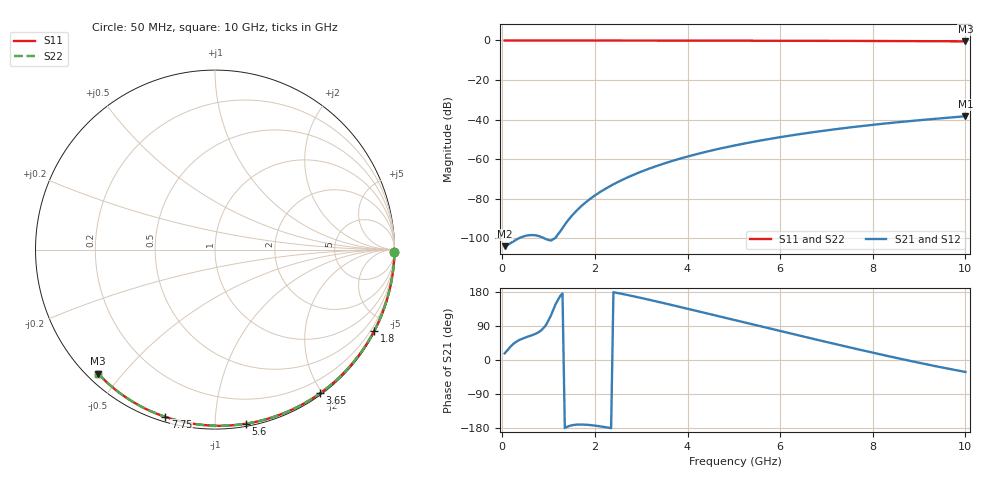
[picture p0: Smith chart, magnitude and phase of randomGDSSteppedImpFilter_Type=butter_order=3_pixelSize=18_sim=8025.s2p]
! freq	dB(S11)	phase(S11)	dB(S12)	phase(S12)
!  dB(S21)	phase(S21)	dB(S22)	phase(S22)
!S-par simulation data
#  GHz  S  DB  R 50
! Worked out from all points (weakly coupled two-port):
!   200 points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, 50 MHz to 10 GHz, reference 50 ohm
!   highest |S21| = -38.29 dB at 10 GHz (marker M1); lowest = -103.9 dB at 50 MHz (marker M2)
!   lowest |S11| = -0.4 dB at 10 GHz (marker M3), VSWR 38.63, Z = 1.54 - j21.6 ohm
!   |S11| at or under -10 dB: nowhere
!   |S22| runs from -0.4 to 0.0 dB; largest |S21 - S12| = 0
!   S11 on the Smith chart (normalised r, x): 50 MHz: open; 1.8 GHz: 0.04, -4.14; 3.65 GHz: 0.02, -1.97; 5.6 GHz: 0.02, -1.19; 7.75 GHz: 0.02, -0.75; 10 GHz: 0.03, -0.43
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0.05  -0.00 -0.8  -103.93 17.4  -103.93 17.4  -0.00 -0.8
0.45  -0.01 -6.9  -99.08 57.1  -99.08 57.1  -0.01 -6.9
0.9  -0.02 -13.7  -99.89 85.8  -99.89 85.8  -0.02 -13.7
1.75  -0.03 -26.4  -82.81 -170.4  -82.81 -170.4  -0.03 -26.4
1.8  -0.03 -27.2  -81.82 -170.7  -81.82 -170.7  -0.03 -27.2
1.9  -0.04 -28.6  -79.99 -171.7  -79.99 -171.7  -0.04 -28.6
2.05  -0.04 -30.8  -77.51 -173.9  -77.51 -173.9  -0.04 -30.8
2.25  -0.04 -33.8  -74.61 -177.7  -74.61 -177.7  -0.04 -33.8
2.45  -0.05 -36.7  -72.06 177.8  -72.06 177.8  -0.05 -36.7
2.65  -0.05 -39.6  -69.78 172.9  -69.78 172.9  -0.05 -39.6
3  -0.06 -44.6  -66.29 163.7  -66.29 163.7  -0.06 -44.6
3.4  -0.07 -50.3  -62.89 152.6  -62.89 152.6  -0.07 -50.3
3.65  -0.07 -53.8  -61.01 145.4  -61.01 145.4  -0.07 -53.8
4.3  -0.09 -62.7  -56.82 126.4  -56.82 126.4  -0.09 -62.8
5.05  -0.11 -72.8  -52.89 104.3  -52.89 104.3  -0.11 -72.8
5.6  -0.13 -80.0  -50.45 88.2  -50.45 88.2  -0.13 -80.0
6.15  -0.15 -87.0  -48.30 72.1  -48.30 72.1  -0.15 -87.0
6.7  -0.18 -93.8  -46.38 56.2  -46.38 56.2  -0.18 -93.9
7.75  -0.24 -106.6  -43.27 26.3  -43.27 26.3  -0.24 -106.6
8.35  -0.29 -113.7  -41.76 9.8  -41.76 9.8  -0.29 -113.7
9.15  -0.36 -123.1  -39.99 -11.1  -39.99 -11.1  -0.36 -123.2
10  -0.45 -133.2  -38.29 -31.6  -38.29 -31.6  -0.45 -133.3
